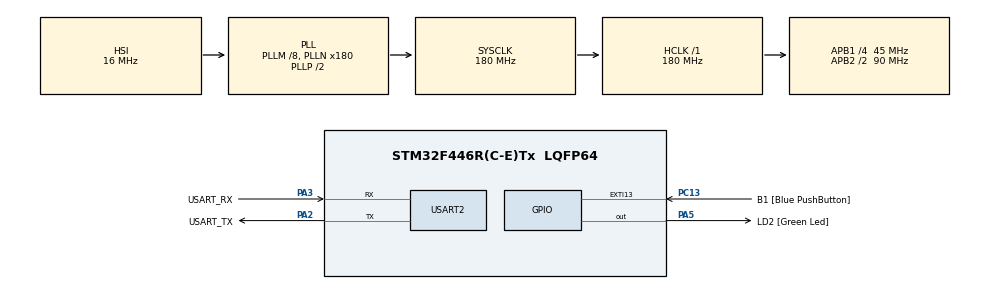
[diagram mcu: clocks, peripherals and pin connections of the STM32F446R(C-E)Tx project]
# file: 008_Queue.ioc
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Mcu.Family=STM32F4
Mcu.Name=STM32F446R(C-E)Tx
Mcu.Package=LQFP64
NVIC.EXTI15_10_IRQn=true\:6\:0\:true\:false\:true\:true\:true\:true
NVIC.PriorityGroup=NVIC_PRIORITYGROUP_4
NVIC.TIM6_DAC_IRQn=true\:0\:0\:false\:false\:true\:false\:true\:true
NVIC.TimeBase=TIM6_DAC_IRQn
NVIC.TimeBaseIP=TIM6
NVIC.USART2_IRQn=true\:6\:0\:true\:false\:true\:true\:true\:true
PA13.GPIO_Label=TMS
PA13.Signal=SYS_JTMS-SWDIO
PA14.GPIO_Label=TCK
PA14.Signal=SYS_JTCK-SWCLK
PA2.GPIO_Label=USART_TX
PA2.Mode=Asynchronous
PA2.Signal=USART2_TX
PA3.GPIO_Label=USART_RX
PA3.Mode=Asynchronous
PA3.Signal=USART2_RX
PA5.GPIO_Label=LD2 [Green Led]
PA5.Signal=GPIO_Output
PB3.GPIO_Label=SWO
PB3.Signal=SYS_JTDO-SWO
PC13.GPIO_Label=B1 [Blue PushButton]
PC13.GPIO_ModeDefaultEXTI=GPIO_MODE_IT_FALLING
PC13.Signal=GPXTI13
PC14-OSC32_IN.Signal=RCC_OSC32_IN
PC15-OSC32_OUT.Signal=RCC_OSC32_OUT
PH0-OSC_IN.Signal=RCC_OSC_IN
PH1-OSC_OUT.Signal=RCC_OSC_OUT
ProjectManager.HeapSize=0x200
ProjectManager.StackSize=0x400
ProjectManager.TargetToolchain=STM32CubeIDE
RCC.AHBFreq_Value=180000000
RCC.APB1CLKDivider=RCC_HCLK_DIV4
RCC.APB1Freq_Value=45000000
RCC.APB1TimFreq_Value=90000000
RCC.APB2CLKDivider=RCC_HCLK_DIV2
RCC.APB2Freq_Value=90000000
RCC.APB2TimFreq_Value=180000000
RCC.CortexFreq_Value=180000000
RCC.FLatency-AdvancedSettings=FLASH_LATENCY_5
RCC.HCLKFreq_Value=180000000
RCC.HSE_VALUE=8000000
RCC.HSI_VALUE=16000000
RCC.LSE_VALUE=32768
RCC.PLLM=8
RCC.PLLN=180
RCC.SYSCLKFreq_VALUE=180000000
RCC.SYSCLKSource=RCC_SYSCLKSOURCE_PLLCLK
RCC.USBFreq_Value=180000000
RCC.VCOOutputFreq_Value=360000000
USART2.VirtualMode=VM_ASYNC
VP_RTC_VS_RTC_Activate.Mode=RTC_Enabled
VP_SYS_VS_tim6.Mode=TIM6
board=NUCLEO-F446RE

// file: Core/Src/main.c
/* USER CODE BEGIN Header */
/**
  ******************************************************************************
  * @file           : main.c
  * @brief          : Main program body
  ******************************************************************************
  * @attention
  *
  * Copyright (c) 2024 STMicroelectronics.
  * All rights reserved.
  *
  * This software is licensed under terms that can be found in the LICENSE file
  * in the root directory of this software component.
  * If no LICENSE file comes with this software, it is provided AS-IS.
  *
  ******************************************************************************
  */
/* USER CODE END Header */
#include "main.h"

RTC_HandleTypeDef hrtc;

UART_HandleTypeDef huart2;

TaskHandle_t handle_led_task;
TaskHandle_t handle_menu_task;
TaskHandle_t handle_rtc_task;
TaskHandle_t handle_print_task;
TaskHandle_t handle_command_task;

QueueHandle_t q_input_data;
QueueHandle_t q_print_data;

state_t currState = sMainMenu;

TimerHandle_t led_timer[3];
TimerHandle_t rtc_timer;

volatile uint8_t user_data;

volatile command_t currCommand;

void SystemClock_Config(void);
static void MX_GPIO_Init(void);
static void MX_RTC_Init(void);
static void MX_USART2_UART_Init(void);
void led_timer_CallBack(TimerHandle_t xTimer);
void rtc_timer_CallBack(TimerHandle_t xTimer);

int main(void)
{

  /* USER CODE BEGIN 1 */
	BaseType_t status;
  /* USER CODE END 1 */

  /* MCU Configuration--------------------------------------------------------*/

  /* Reset of all peripherals, Initializes the Flash interface and the Systick. */
  HAL_Init();

  /* Configure the system clock */
  SystemClock_Config();

  /* Initialize all configured peripherals */
  MX_GPIO_Init();
  MX_RTC_Init();
  MX_USART2_UART_Init();
  /* USER CODE BEGIN 2 */

//  enable the CYCCNT Counter
  DWT_CTRL |= (1 << 0);

//  Create Tasks
  status = xTaskCreate(menu_task_handler, "menu_task", 200, NULL, 2, &handle_menu_task);
  configASSERT(status == pdPASS);

  status = xTaskCreate(led_task_handler, "led_task", 200, NULL, 2, &handle_led_task);
  configASSERT(status == pdPASS);

  status = xTaskCreate(rtc_task_handler, "rtc_task", 250, NULL, 2, &handle_rtc_task);
  configASSERT(status == pdPASS);

  status = xTaskCreate(print_task_handler, "print_task", 200, NULL, 2, &handle_print_task);
  configASSERT(status == pdPASS);

  status = xTaskCreate(command_task_handler, "command_task", 200, NULL, 2, &handle_command_task);
  configASSERT(status == pdPASS);

//  Create Queues

  q_input_data = xQueueCreate(10, sizeof(char));
  configASSERT(q_input_data != NULL);

  q_print_data = xQueueCreate(10, sizeof(size_t));
  configASSERT(q_print_data  != NULL);

//  Create Timers

  for (int i = 0; i < 3; i++)
  {
	  led_timer[i] = xTimerCreate("led_timer", pdMS_TO_TICKS(500), pdTRUE, (void*)(i+1), led_timer_CallBack);
	  configASSERT(led_timer[i] != NULL);
  }

  rtc_timer = xTimerCreate("rtc_timer", pdMS_TO_TICKS(1000), pdTRUE, (void*)(0), rtc_timer_CallBack);
  configASSERT(rtc_timer != NULL);

  HAL_UART_Receive_IT(&huart2, (uint8_t*)&user_data, 1);

//  Start scheduler
  vTaskStartScheduler();

  /* USER CODE END 2 */

  /* Infinite loop */
  while (1)
  {

  }
}

void SystemClock_Config(void)
{
  RCC_OscInitTypeDef RCC_OscInitStruct = {0};
  RCC_ClkInitTypeDef RCC_ClkInitStruct = {0};

  /** Configure the main internal regulator output voltage
  */
  __HAL_RCC_PWR_CLK_ENABLE();
  __HAL_PWR_VOLTAGESCALING_CONFIG(PWR_REGULATOR_VOLTAGE_SCALE1);

  /** Initializes the RCC Oscillators according to the specified parameters
  * in the RCC_OscInitTypeDef structure.
  */
  RCC_OscInitStruct.OscillatorType = RCC_OSCILLATORTYPE_HSI|RCC_OSCILLATORTYPE_LSI;
  RCC_OscInitStruct.LSEState = RCC_LSE_OFF;
  RCC_OscInitStruct.HSIState = RCC_HSI_ON;
  RCC_OscInitStruct.HSICalibrationValue = RCC_HSICALIBRATION_DEFAULT;
  RCC_OscInitStruct.LSIState = RCC_LSI_ON;
  RCC_OscInitStruct.PLL.PLLState = RCC_PLL_ON;
  RCC_OscInitStruct.PLL.PLLSource = RCC_PLLSOURCE_HSI;
  RCC_OscInitStruct.PLL.PLLM = 8;
  RCC_OscInitStruct.PLL.PLLN = 180;
  RCC_OscInitStruct.PLL.PLLP = RCC_PLLP_DIV2;
  RCC_OscInitStruct.PLL.PLLQ = 2;
  RCC_OscInitStruct.PLL.PLLR = 2;
  if (HAL_RCC_OscConfig(&RCC_OscInitStruct) != HAL_OK)
  {
    Error_Handler();
  }

  /** Activate the Over-Drive mode
  */
  if (HAL_PWREx_EnableOverDrive() != HAL_OK)
  {
    Error_Handler();
  }

  /** Initializes the CPU, AHB and APB buses clocks
  */
  RCC_ClkInitStruct.ClockType = RCC_CLOCKTYPE_HCLK|RCC_CLOCKTYPE_SYSCLK
                              |RCC_CLOCKTYPE_PCLK1|RCC_CLOCKTYPE_PCLK2;
  RCC_ClkInitStruct.SYSCLKSource = RCC_SYSCLKSOURCE_PLLCLK;
  RCC_ClkInitStruct.AHBCLKDivider = RCC_SYSCLK_DIV1;
  RCC_ClkInitStruct.APB1CLKDivider = RCC_HCLK_DIV4;
  RCC_ClkInitStruct.APB2CLKDivider = RCC_HCLK_DIV2;

  if (HAL_RCC_ClockConfig(&RCC_ClkInitStruct, FLASH_LATENCY_5) != HAL_OK)
  {
    Error_Handler();
  }
}

static void MX_RTC_Init(void)
{

  /** Initialize RTC Only
  */
  hrtc.Instance = RTC;
  hrtc.Init.HourFormat = RTC_HOURFORMAT_24;
  hrtc.Init.AsynchPrediv = 127;
  hrtc.Init.SynchPrediv = 255;
  hrtc.Init.OutPut = RTC_OUTPUT_DISABLE;
  hrtc.Init.OutPutPolarity = RTC_OUTPUT_POLARITY_HIGH;
  hrtc.Init.OutPutType = RTC_OUTPUT_TYPE_OPENDRAIN;
  if (HAL_RTC_Init(&hrtc) != HAL_OK)
  {
    Error_Handler();
  }

}

static void MX_USART2_UART_Init(void)
{

  huart2.Instance = USART2;
  huart2.Init.BaudRate = 115200;
  huart2.Init.WordLength = UART_WORDLENGTH_8B;
  huart2.Init.StopBits = UART_STOPBITS_1;
  huart2.Init.Parity = UART_PARITY_NONE;
  huart2.Init.Mode = UART_MODE_TX_RX;
  huart2.Init.HwFlowCtl = UART_HWCONTROL_NONE;
  huart2.Init.OverSampling = UART_OVERSAMPLING_16;
  if (HAL_UART_Init(&huart2) != HAL_OK)
  {
    Error_Handler();
  }

}

static void MX_GPIO_Init(void)
{
  GPIO_InitTypeDef GPIO_InitStruct = {0};

  /* GPIO Ports Clock Enable */
  __HAL_RCC_GPIOC_CLK_ENABLE();
  __HAL_RCC_GPIOH_CLK_ENABLE();
  __HAL_RCC_GPIOA_CLK_ENABLE();
  __HAL_RCC_GPIOB_CLK_ENABLE();

  /*Configure GPIO pin Output Level */
  HAL_GPIO_WritePin(LD2_GPIO_Port, LD2_Pin, GPIO_PIN_RESET);

  /*Configure GPIO pin : B1_Pin */
  GPIO_InitStruct.Pin = B1_Pin;
  GPIO_InitStruct.Mode = GPIO_MODE_IT_FALLING;
  GPIO_InitStruct.Pull = GPIO_NOPULL;
  HAL_GPIO_Init(B1_GPIO_Port, &GPIO_InitStruct);

  /*Configure GPIO pin : LD2_Pin */
  GPIO_InitStruct.Pin = LD2_Pin;
  GPIO_InitStruct.Mode = GPIO_MODE_OUTPUT_PP;
  GPIO_InitStruct.Pull = GPIO_NOPULL;
  GPIO_InitStruct.Speed = GPIO_SPEED_FREQ_LOW;
  HAL_GPIO_Init(LD2_GPIO_Port, &GPIO_InitStruct);

  /* EXTI interrupt init*/
  HAL_NVIC_SetPriority(EXTI15_10_IRQn, 6, 0);
  HAL_NVIC_EnableIRQ(EXTI15_10_IRQn);

/* USER CODE BEGIN MX_GPIO_Init_2 */
  HAL_GPIO_WritePin(EXT_LED_PORT, RED_LED_PIN, GPIO_PIN_RESET);
  HAL_GPIO_WritePin(EXT_LED_PORT, YELLOW_LED_PIN, GPIO_PIN_RESET);

  /*Configure GPIO pin : RED_LED_PIN */
  GPIO_InitStruct.Pin = RED_LED_PIN|YELLOW_LED_PIN;
  GPIO_InitStruct.Mode = GPIO_MODE_OUTPUT_PP;
  GPIO_InitStruct.Pull = GPIO_NOPULL;
  GPIO_InitStruct.Speed = GPIO_SPEED_FREQ_LOW;
  HAL_GPIO_Init(EXT_LED_PORT, &GPIO_InitStruct);

/* USER CODE END MX_GPIO_Init_2 */
}

/* USER CODE BEGIN 4 */

void HAL_UART_RxCpltCallback(UART_HandleTypeDef *huart)
{
	uint8_t emptyPointer;
//	Check if queue full
	if (!xQueueIsQueueFullFromISR(q_input_data))
	{
//		Add the data in user_data to the queue.
//		Stored in user data bc we set it up in main() with the interrupt
		xQueueSendFromISR(q_input_data, (void*)&user_data, NULL);

	} else {
		if (user_data == '\n')
		{
//			delete latest item from queue
//			fill empty spot with user data
			xQueueReceiveFromISR(q_input_data, (void*)&emptyPointer, NULL);
			xQueueSendFromISR(q_input_data, (void*)&user_data, NULL);
		}
	}

	if (user_data == '\n')
	{
//		Notify command handler task that user entered a command
		xTaskNotifyFromISR(handle_command_task,0, eNoAction, NULL);
	}

	HAL_UART_Receive_IT(&huart2, (uint8_t*)&user_data, 1);

}

void led_timer_CallBack(TimerHandle_t xTimer)
{
	int id;
	id = (int)pvTimerGetTimerID(xTimer);

	switch (id) {
		case 1:
			LED_effect_1();
			break;
		case 2:
			LED_effect_2();
			break;
		case 3:
			LED_effect_3();
			break;
		default:
			break;
	}

}

void rtc_timer_CallBack(TimerHandle_t xTimer)
{
	rtc_get_curr_date_time_itm();
}

/* USER CODE END 4 */

void HAL_TIM_PeriodElapsedCallback(TIM_HandleTypeDef *htim)
{
  if (htim->Instance == TIM6) {
    HAL_IncTick();
  }
}

void Error_Handler(void)
{
  __disable_irq();
  while (1)
  {
  }
}
